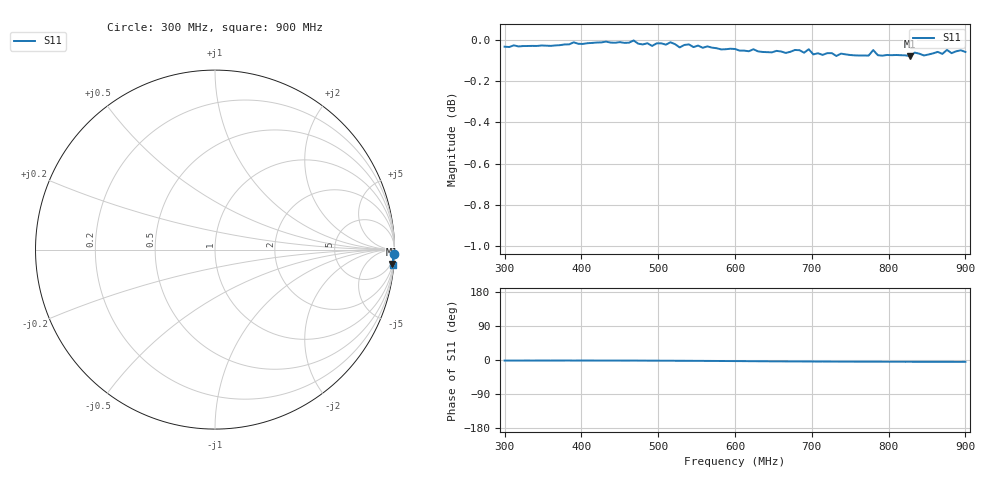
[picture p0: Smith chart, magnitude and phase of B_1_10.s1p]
# HZ S RI R 50
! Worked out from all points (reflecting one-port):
!   101 points, 300 MHz to 900 MHz, reference 50 ohm
!   lowest |S11| = -0.1 dB at 828 MHz (marker M1), VSWR 223.35, Z = 136 - j1.22e+03 ohm
!   phase of S11 starts at -1 deg and turns -3 deg over the sweep
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3e8  0.9961 -0.0256
3.78e8  0.9973 -0.0242
3.9e8  0.9985 -0.026
4.02e8  0.9976 -0.0242
4.5e8  0.9986 -0.0265
4.62e8  0.9982 -0.0274
4.68e8  0.9995 -0.0256
4.92e8  0.9963 -0.0306
5.16e8  0.9983 -0.0334
5.28e8  0.9953 -0.0362
5.4e8  0.997 -0.0373
6e8  0.9939 -0.0495
6.66e8  0.9908 -0.0648
6.78e8  0.9923 -0.0666
6.84e8  0.9923 -0.0655
6.9e8  0.9907 -0.0682
7.08e8  0.9902 -0.0708
7.5e8  0.9889 -0.0745
7.74e8  0.9884 -0.077
7.8e8  0.9915 -0.0772
7.86e8  0.9886 -0.0774
8.28e8  0.9879 -0.0799
8.34e8  0.9897 -0.0814
8.7e8  0.9889 -0.0826
8.76e8  0.9911 -0.0831
8.82e8  0.9893 -0.0832
8.88e8  0.99 -0.0865
9e8  0.99 -0.0833
